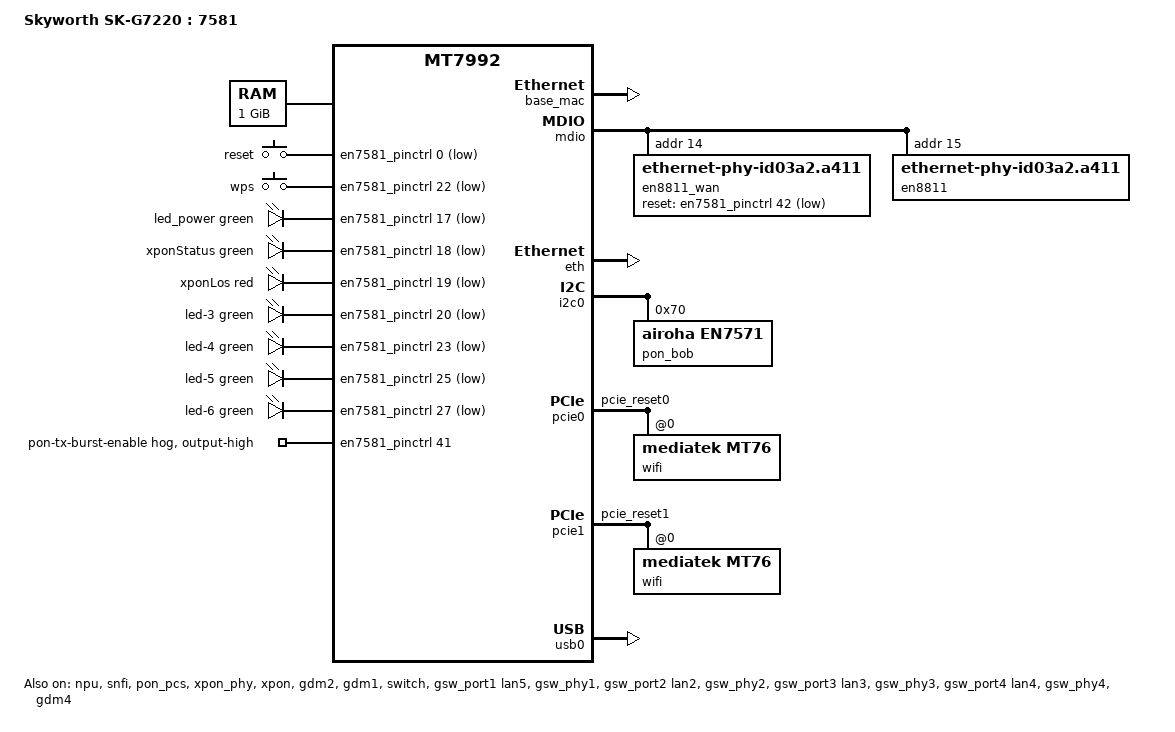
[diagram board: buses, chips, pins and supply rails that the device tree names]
// SPDX-License-Identifier: GPL-2.0-only OR MIT

/dts-v1/;

#include <dt-bindings/leds/common.h>
#include <dt-bindings/gpio/gpio.h>
#include <dt-bindings/input/input.h>
#include <dt-bindings/phy/phy.h>
#include "an7581.dtsi"
#include "an7581-npu-mt7992.dtsi"

/ {
	model = "Skyworth SK-G7220 :  7581";
	compatible = "skyworth,sk-g7220", "airoha,an7581", "airoha,en7581";

	aliases {
		serial0 = &uart1;
		led-boot = &led_power;
		led-failsafe = &led_power;
		led-running = &led_power;
		led-upgrade = &led_power;
	};

	chosen {
		bootargs = "console=ttyS0,115200 earlycon";
		bootargs-append = " rootfstype=squashfs";
		stdout-path = "serial0:115200n8";
	};

	memory@80000000 {
		device_type = "memory";
		reg = <0x0 0x80000000 0x0 0x40000000>;
	};

	keys {
		compatible = "gpio-keys";

		key-restart {
			label = "reset";
			gpios = <&en7581_pinctrl 0 GPIO_ACTIVE_LOW>;
			linux,code = <KEY_RESTART>;
		};

		key-wps {
			label = "wps";
			gpios = <&en7581_pinctrl 22 GPIO_ACTIVE_LOW>;
			linux,code = <KEY_WPS_BUTTON>;
		};
	};

	leds {
		compatible = "gpio-leds";

		led_power: led-0 {
			color = <LED_COLOR_ID_GREEN>;
			function = LED_FUNCTION_POWER;
			gpios = <&en7581_pinctrl 17 GPIO_ACTIVE_LOW>;
			default-state = "on";
		};

		led_pon: led-1 {
			label = "xponStatus";
			color = <LED_COLOR_ID_GREEN>;
			function = LED_FUNCTION_WAN;
			gpios = <&en7581_pinctrl 18 GPIO_ACTIVE_LOW>;
		};

		led_los: led-2 {
			label = "xponLos";
			color = <LED_COLOR_ID_RED>;
			function = LED_FUNCTION_FAULT;
			gpios = <&en7581_pinctrl 19 GPIO_ACTIVE_LOW>;
		};

		led-3 {
			color = <LED_COLOR_ID_GREEN>;
			function = LED_FUNCTION_WAN_ONLINE;
			gpios = <&en7581_pinctrl 20 GPIO_ACTIVE_LOW>;
		};

		led-4 {
			color = <LED_COLOR_ID_GREEN>;
			function = "voip";
			gpios = <&en7581_pinctrl 23 GPIO_ACTIVE_LOW>;
		};

		led-5 {
			color = <LED_COLOR_ID_GREEN>;
			function = "wps";
			gpios = <&en7581_pinctrl 25 GPIO_ACTIVE_LOW>;
		};

		led-6 {
			color = <LED_COLOR_ID_GREEN>;
			function = LED_FUNCTION_USB;
			gpios = <&en7581_pinctrl 27 GPIO_ACTIVE_LOW>;
			linux,default-trigger = "usbport";
			trigger-sources = <&usb_port1>;
		};
	};
};

/*
 * an7581.dtsi and the 6.18 drivers disagree on these names. Nothing binds
 * without the exact strings the drivers match, and an unbound pinctrl also
 * takes out the switch, its MDIO bus (and so the EN8811H), LEDs, keys and PCIe.
 */
&cpufreq {
	compatible = "airoha,an7581-cpufreq";
};

&npu {
	compatible = "airoha,airoha_en7581-npu";
	airoha,scu = <&scuclk>;
	status = "okay";
};

&en7581_pinctrl {
	compatible = "airoha,en7581-pinctrl";
	gpio-ranges = <&en7581_pinctrl 0 13 50>;

	/*
	 * OEM second GPIO bank, line 9 => GPIO line 41.
	 * The stock firmware exposes this signal as "phy_tx_ben" and
	 * configures it high by default. It is NOT an indicator LED.
	 */
	pon_tx_ben_hog: pon-tx-burst-enable-hog {
		gpio-hog;
		gpios = <41 GPIO_ACTIVE_HIGH>;
		output-high;
		line-name = "pon-tx-burst-enable";
	};

	mdio_pins: mdio-pins {
		mux {
			function = "mdio";
			groups = "mdio";
		};

		conf {
			pins = "gpio2";
			output-high;
		};
	};

	pcie0_rst_pins: pcie0-rst-pins {
		conf {
			pins = "pcie_reset0";
			drive-open-drain = <1>;
		};
	};

	pcie1_rst_pins: pcie1-rst-pins {
		conf {
			pins = "pcie_reset1";
			drive-open-drain = <1>;
		};
	};
};

&snfi {
	status = "okay";
};

&spi_nand {
	#address-cells = <1>;
	#size-cells = <1>;

	partitions {
		compatible = "fixed-partitions";
		#address-cells = <1>;
		#size-cells = <1>;

		partition@0 {
			label = "bootloader";
			reg = <0x00000000 0x00080000>;
			read-only;
		};

		partition@80000 {
			label = "tclinux";
			reg = <0x00080000 0x03c00000>;
		};

		kernel@80000,0 {
			label = "kernel";
			reg = <0x00080000 0x00600000>;
		};

		rootfs@680000 {
			label = "rootfs";
			reg = <0x00680000 0x03600000>;
		};

		partition@3c80000 {
			label = "tclinux_slave";
			reg = <0x03c80000 0x03c00000>;
		};

		kernel_slave@3c80000,0 {
			label = "kernel_slave";
			reg = <0x03c80000 0x00600000>;
		};

		rootfs_slave@4280000 {
			label = "rootfs_slave";
			reg = <0x04280000 0x03600000>;
		};

		/* Stock's JFFS2 overlay. Not "rootfs_data", or fstools would use it. */
		partition@7880000 {
			label = "stock_data";
			reg = <0x07880000 0x00800000>;
			read-only;
		};

		partition@8080000 {
			label = "ubifs";
			reg = <0x08080000 0x02000000>;
		};

		partition@a080000 {
			label = "others";
			reg = <0x0a080000 0x00200000>;
		};

		/* Blank on stock. Our overlay: UBI, volume rootfs_data. */
		partition@a280000 {
			label = "alphawrt_data";
			reg = <0x0a280000 0x03a00000>;
		};

		art: partition@dc80000 {
			label = "art";
			reg = <0x0dc80000 0x00380000>;
			read-only;

			nvmem-layout {
				compatible = "fixed-layout";
				#address-cells = <1>;
				#size-cells = <1>;

				base_mac: macaddr@0 {
					compatible = "mac-base";
					reg = <0x0 0x11>;
					#nvmem-cell-cells = <1>;
				};

				eeprom_mt7992: eeprom@40000 {
					reg = <0x40000 0x15c000>;
				};

				en7571_bob: bob@260000 {
					reg = <0x260000 0xff>;
				};
			};
		};

		/* Reserved for bad block management pool */
		reserved_bmt@e000000 {
			label = "reserved_bmt";
			reg = <0x0e000000 0x02000000>;
			read-only;
		};
	};
};

/* The WAN PHY only: GDM2 reaches it through this PCS in Ethernet WAN mode */
&pon_pcs {
	status = "okay";
};

&mdio {
	/* WAN port. Needs its reset pulsed or the SerDes never syncs. */
	en8811_wan: ethernet-phy@e {
		compatible = "ethernet-phy-id03a2.a411";
		reg = <0xe>;
		reset-gpios = <&en7581_pinctrl 42 GPIO_ACTIVE_LOW>;
		reset-assert-us = <100000>;
		reset-deassert-us = <100000>;
	};

	/* Airoha EN8811H 2.5Gbps PHY */
	en8811: ethernet-phy@f {
		compatible = "ethernet-phy-id03a2.a411";
		reg = <0xf>;

		leds {
			#address-cells = <1>;
			#size-cells = <0>;

			led@0 {
				reg = <0>;
				color = <LED_COLOR_ID_GREEN>;
				function = LED_FUNCTION_LAN;
				function-enumerator = <1>;
				default-state = "keep";
			};
		};
	};
};

&eth {
	status = "okay";
};

&i2c0 {
	status = "okay";

	pon_bob: bob@70 {
		compatible = "airoha,en7571";
		reg = <0x70>;

		nvmem-cells = <&en7571_bob>;
		nvmem-cell-names = "calibration";

		#optical-frontend-cells = <0>;
	};
};

&xpon_phy {
	status = "okay";

	/* The EN7571 LOS line reads high with light present. */
	airoha,rx-sd-inverted;
};

&xpon {
	status = "okay";

	optical-frontends = <&pon_bob>;
	optical-frontend-names = "pon";
};

&gdm2 {
	status = "okay";
	phy-mode = "internal";

	/* GPON is driven by the native xPON PHY, not Ethernet SerDes PCS. */
	/delete-property/ pcs-handle;

	airoha,xpon-managed;
	openwrt,netdev-name = "pon0";

	/* Board switch for the SerDes lanes: low to the WAN PHY, high to the optics */
	wan-path-gpios = <&en7581_pinctrl 33 GPIO_ACTIVE_LOW>;

	/* Used instead of the above when the WAN flag on flash says so */
	wan-ethernet {
		pcs-handle = <&pon_pcs>;
		phy-handle = <&en8811_wan>;
		phy-mode = "2500base-x";
		airoha,xpon-managed;
		nvmem-cell-names = "mac-address";
		nvmem-cells = <&base_mac (1)>;
		openwrt,netdev-name = "wan";
	};
};

/* Internal 10G link to the switch: the DSA conduit for lan2-4 */
&gdm1 {
	status = "okay";

	nvmem-cell-names = "mac-address";
	nvmem-cells = <&base_mac (0)>;
};

&switch {
	status = "okay";

	pinctrl-names = "default";
	pinctrl-0 = <&mdio_pins>;
};

&gsw_port1 {
	status = "okay";
	label = "lan5";
};

&gsw_phy1 {
	status = "okay";
	interrupts = <1>;
};

&gsw_port2 {
	status = "okay";
	label = "lan2";
};

&gsw_phy2 {
	status = "okay";
	interrupts = <2>;
};

&gsw_port3 {
	status = "okay";
	label = "lan3";
};

&gsw_phy3 {
	status = "okay";
	interrupts = <3>;
};

&gsw_port4 {
	status = "okay";
	label = "lan4";
};

&gsw_phy4 {
	status = "okay";
	interrupts = <4>;
};

&gdm4 {
	status = "okay";
	openwrt,netdev-name = "lan1";

	phy-handle = <&en8811>;
	phy-mode = "2500base-x";

	nvmem-cell-names = "mac-address";
	nvmem-cells = <&base_mac (0)>;
};

/* MT7992 second PCIe function (hif2) */
&pcie0 {
	pinctrl-names = "default";
	pinctrl-0 = <&pcie0_rst_pins>;
	status = "okay";

	pcie@0,0 {
		reg = <0x0000 0 0 0 0>;
		#address-cells = <3>;
		#size-cells = <2>;
		ranges;

		wifi@0,0 {
			compatible = "mediatek,mt76";
			reg = <0x0000 0 0 0 0>;
			airoha,npu = <&npu>;
			airoha,eth = <&eth>;
		};
	};
};

/* MT7992 main function: owns the calibration data */
&pcie1 {
	pinctrl-names = "default";
	pinctrl-0 = <&pcie1_rst_pins>;
	status = "okay";

	pcie@0,0 {
		reg = <0x0000 0 0 0 0>;
		#address-cells = <3>;
		#size-cells = <2>;
		ranges;

		wifi@0,0 {
			compatible = "mediatek,mt76";
			reg = <0x0000 0 0 0 0>;
			airoha,npu = <&npu>;
			airoha,eth = <&eth>;
			nvmem-cells = <&eeprom_mt7992>, <&base_mac (2)>;
			nvmem-cell-names = "eeprom", "mac-address";
		};
	};
};

&usb0 {
	status = "okay";

	#address-cells = <1>;
	#size-cells = <0>;

	usb_port1: port@1 {
		reg = <1>;
		#trigger-source-cells = <0>;
	};
};
